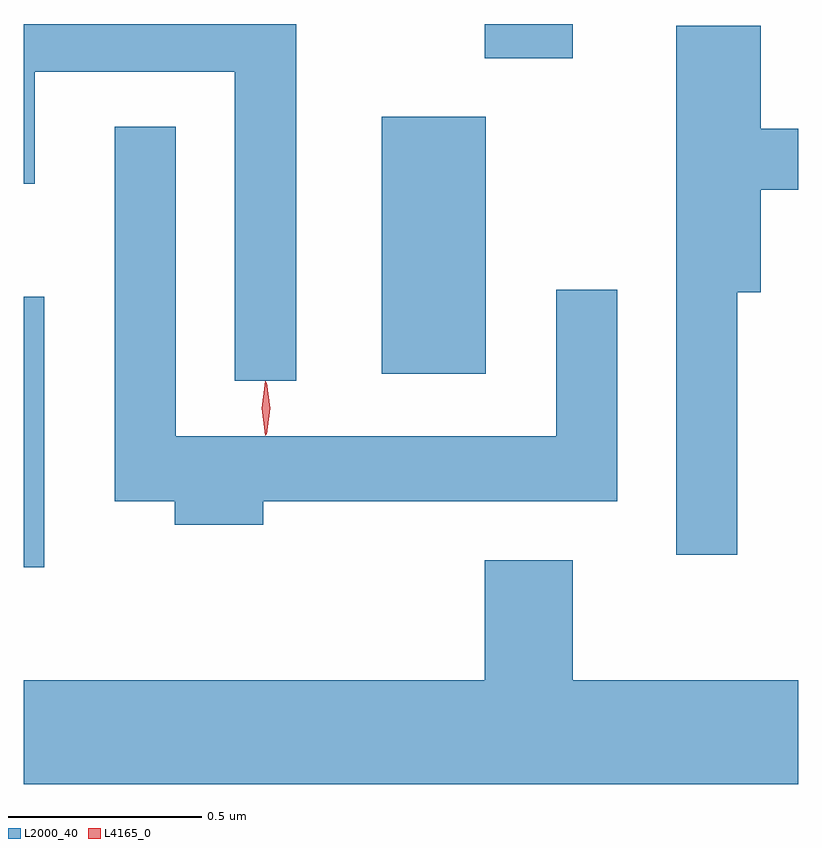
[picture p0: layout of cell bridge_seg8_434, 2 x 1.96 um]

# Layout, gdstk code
import gdstk
lib = gdstk.Library(unit=1e-6, precision=1e-09)
def R(c, l, rs):  # rectangles x0, y0, x1, y1
    for r in rs: c.add(gdstk.rectangle(r[:2], r[2:], *l))
def P(c, l, *ps):  # polygons
    for p in ps: c.add(gdstk.Polygon(p, *l))
L2000_40 = (2000, 40)
L4165_0 = (4165, 0)

bridge_seg8_434 = lib.new_cell('bridge_seg8_434')
R(bridge_seg8_434, L2000_40, [(875.891,1845.856,875.944,1846.554), (876.816,1846.356,877.084,1847.019), (877.081,1847.171,877.309,1847.259)])
P(bridge_seg8_434, L2000_40, [(876.594,1847.259),(875.891,1847.259),(875.891,1846.846),(875.919,1846.846),(875.919,1847.136),(876.436,1847.136),(876.436,1846.338),(876.594,1846.338)],
  [(877.734,1846.566),(877.794,1846.566),(877.794,1846.831),(877.891,1846.831),(877.891,1846.989),(877.794,1846.989),(877.794,1847.254),(877.576,1847.254),(877.576,1845.888),(877.734,1845.888)],
  [(876.509,1846.026),(877.424,1846.026),(877.424,1846.573),(877.266,1846.573),(877.266,1846.194),(876.284,1846.194),(876.284,1846.993),(876.126,1846.993),(876.126,1846.026),(876.281,1846.026),(876.281,1845.966),(876.509,1845.966)],
  [(877.891,1845.564),(877.309,1845.564),(877.309,1845.874),(877.081,1845.874),(877.081,1845.564),(875.891,1845.564),(875.891,1845.296),(877.891,1845.296)])
P(bridge_seg8_434, L4165_0, [(876.515,1846.197),(876.506,1846.267),(876.515,1846.336),(876.516,1846.336),(876.516,1846.336),(876.526,1846.267),(876.516,1846.197),(876.516,1846.197)],
  [(876.518,1846.199),(876.517,1846.2),(876.508,1846.266),(876.517,1846.332),(876.518,1846.333),(876.518,1846.332),(876.528,1846.266),(876.518,1846.2)])

lib.write_gds('bridge_seg8_434.gds')
